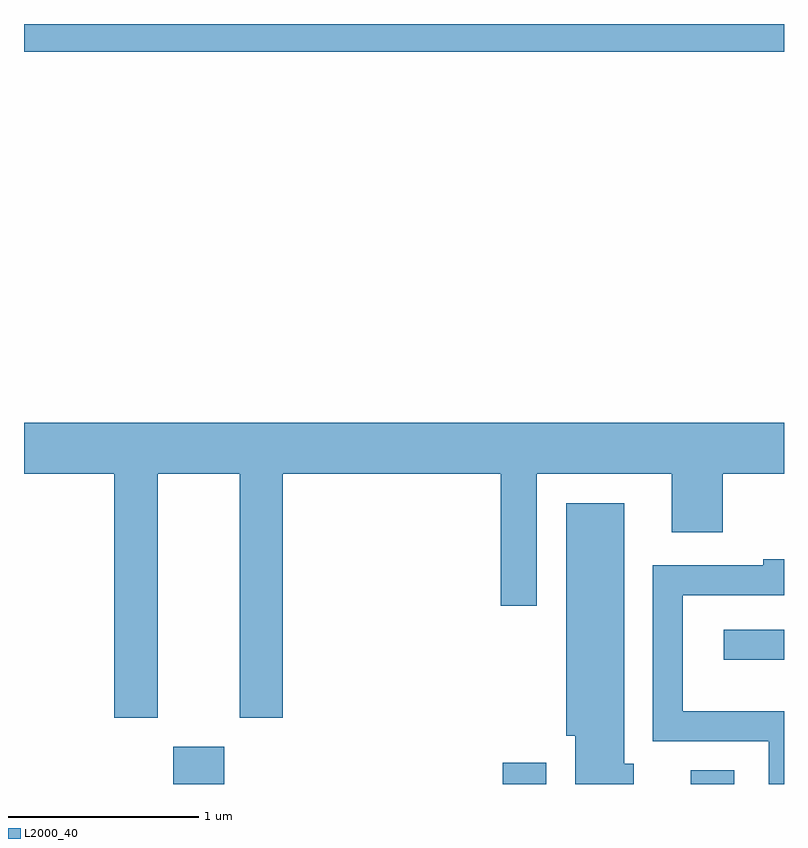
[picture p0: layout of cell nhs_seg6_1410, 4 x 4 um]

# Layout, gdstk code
import gdstk
lib = gdstk.Library(unit=1e-6, precision=1e-09)
def R(c, l, rs):  # rectangles x0, y0, x1, y1
    for r in rs: c.add(gdstk.rectangle(r[:2], r[2:], *l))
def P(c, l, *ps):  # polygons
    for p in ps: c.add(gdstk.Polygon(p, *l))
L2000_40 = (2000, 40)

nhs_seg6_1410 = lib.new_cell('nhs_seg6_1410')
R(nhs_seg6_1410, L2000_40, [(228.396,1566.162,228.664,1566.359), (230.131,1566.162,230.359,1566.274), (231.121,1566.162,231.349,1566.234), (231.293,1566.816,231.611,1566.974), (227.611,1570.016,231.611,1570.162)])
P(nhs_seg6_1410, L2000_40, [(228.314,1567.796),(228.746,1567.796),(228.746,1566.511),(228.974,1566.511),(228.974,1567.796),(230.121,1567.796),(230.121,1567.101),(230.309,1567.101),(230.309,1567.796),(231.021,1567.796),(231.021,1567.486),(231.289,1567.486),(231.289,1567.796),(231.611,1567.796),(231.611,1568.064),(227.611,1568.064),(227.611,1567.796),(228.086,1567.796),(228.086,1566.511),(228.314,1566.511)],
  [(230.819,1566.269),(230.769,1566.269),(230.769,1567.639),(230.466,1567.639),(230.466,1566.416),(230.511,1566.416),(230.511,1566.162),(230.819,1566.162)],
  [(231.611,1566.544),(231.079,1566.544),(231.079,1567.156),(231.611,1567.156),(231.611,1567.344),(231.501,1567.344),(231.501,1567.314),(230.921,1567.314),(230.921,1566.386),(231.531,1566.386),(231.531,1566.162),(231.611,1566.162)])

lib.write_gds('nhs_seg6_1410.gds')
